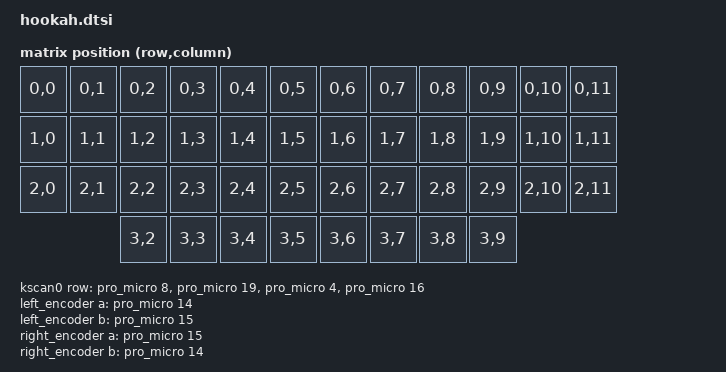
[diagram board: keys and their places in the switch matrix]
/*
 * Copyright (c) 2020 The ZMK Contributors
 *
 * SPDX-License-Identifier: MIT
 */

#include <dt-bindings/zmk/matrix_transform.h>
#include "hookah-layouts.dtsi"


&hookah_layout{
        kscan = <&kscan0>;
        transform = <&default_transform>;
};

/ {
    chosen {
        zmk,physical-layout = &hookah_layout;
    };

    
    default_transform: keymap_transform_0 {
        compatible = "zmk,matrix-transform";
        columns = <12>;
        rows = <4>;
// | SW1  | SW2  | SW3  | SW4  | SW5  | SW6  |   | SW6  | SW5  | SW4  | SW3  | SW2  | SW1  |
// | SW7  | SW8  | SW9  | SW10 | SW11 | SW12 |   | SW12 | SW11 | SW10 | SW9  | SW8  | SW7  |
// | SW13 | SW14 | SW15 | SW16 | SW17 | SW18 |   | SW18 | SW17 | SW16 | SW15 | SW14 | SW13 |
//           SWENC_eleft| SW19 | SW20 | SW21 |   | SW21 | SW20 | SW19 | SWENC_eright
        map = <
RC(0,0) RC(0,1) RC(0,2) RC(0,3) RC(0,4) RC(0,5)  RC(0,6) RC(0,7) RC(0,8) RC(0,9) RC(0,10) RC(0,11)
RC(1,0) RC(1,1) RC(1,2) RC(1,3) RC(1,4) RC(1,5)  RC(1,6) RC(1,7) RC(1,8) RC(1,9) RC(1,10) RC(1,11)
RC(2,0) RC(2,1) RC(2,2) RC(2,3) RC(2,4) RC(2,5)  RC(2,6) RC(2,7) RC(2,8) RC(2,9) RC(2,10) RC(2,11)
                RC(3,2) RC(3,3) RC(3,4) RC(3,5)  RC(3,6) RC(3,7) RC(3,8) RC(3,9)
        >;
    };

    kscan0: kscan0 {
        compatible = "zmk,kscan-gpio-matrix";
        diode-direction = "col2row";
        wakeup-source;
        
        row-gpios
            = <&pro_micro 8 (GPIO_ACTIVE_HIGH | GPIO_PULL_DOWN)>
            , <&pro_micro 19 (GPIO_ACTIVE_HIGH | GPIO_PULL_DOWN)>
            , <&pro_micro 4 (GPIO_ACTIVE_HIGH | GPIO_PULL_DOWN)>
            , <&pro_micro 16 (GPIO_ACTIVE_HIGH | GPIO_PULL_DOWN)>
            ;
    };
    
    left_encoder: encoder_left {
        compatible = "alps,ec11";
        a-gpios = <&pro_micro 14 (GPIO_ACTIVE_HIGH | GPIO_PULL_UP)>;
        b-gpios = <&pro_micro 15 (GPIO_ACTIVE_HIGH | GPIO_PULL_UP)>;
        steps = <20>;
        status = "disabled";
    };

    right_encoder: encoder_right {
        compatible = "alps,ec11";
        a-gpios = <&pro_micro 15 (GPIO_ACTIVE_HIGH | GPIO_PULL_UP)>;
        b-gpios = <&pro_micro 14 (GPIO_ACTIVE_HIGH | GPIO_PULL_UP)>;
        steps = <20>;
        status = "disabled";
    };
    
    sensors: sensors {
        compatible = "zmk,keymap-sensors";
        sensors = <&left_encoder &right_encoder>;
        triggers-per-rotation = <20>;
    };

};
